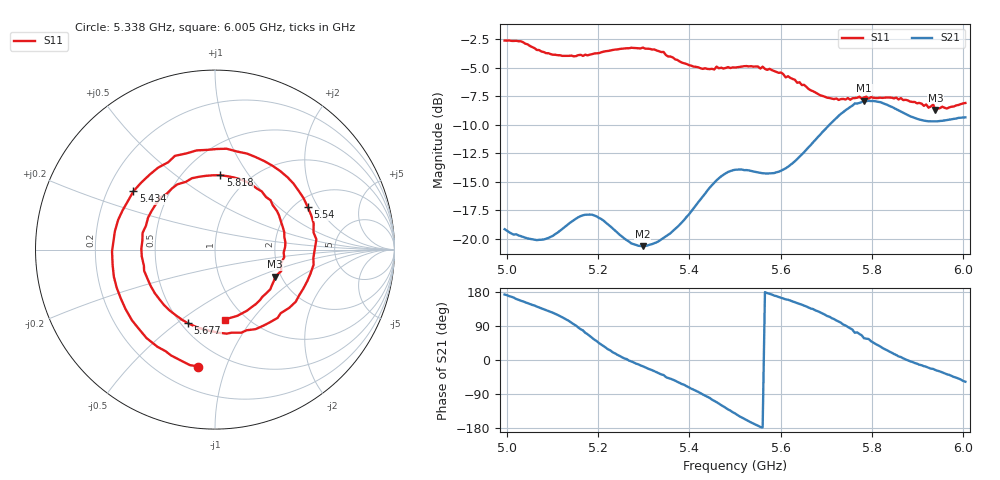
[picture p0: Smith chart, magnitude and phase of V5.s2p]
!File created by NanoVNA
# Hz S RI R 50
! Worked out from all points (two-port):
!   201 points, 4.995 GHz to 6.005 GHz, reference 50 ohm
!   highest |S21| = -7.88 dB at 5.783 GHz (marker M1); lowest = -20.6 dB at 5.298 GHz (marker M2)
!   |S21| within 3 dB of the highest: 5.686 GHz to end of sweep
!   lowest |S11| = -8.7 dB at 5.939 GHz (marker M3), VSWR 2.16, Z = 93 - j32.5 ohm
!   |S11| at or under -10 dB: nowhere
!   S12 and S22 are empty: the file has one direction only
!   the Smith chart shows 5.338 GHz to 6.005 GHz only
!   S11 on the Smith chart (normalised r, x): 5.338 GHz: 0.35, -0.80; 5.434 GHz: 0.31, +0.29; 5.54 GHz: 2.33, +1.64; 5.677 GHz: 0.54, -0.55; 5.818 GHz: 0.74, +0.75; 6.005 GHz: 0.81, -0.75
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4.995e9  0.2372 -0.6999  -0.1095 0.0138  0 0  0 0
5.03035e9  -0.2758 -0.6797  -0.0945 0.0411  0 0  0 0
5.08085e9  -0.656 -0.0529  -0.0696 0.0713  0 0  0 0
5.1263e9  -0.3862 0.5019  -0.0375 0.1063  0 0  0 0
5.1667e9  0.0984 0.6253  0.0263 0.1244  0 0  0 0
5.2374e9  0.6686 0.0912  0.104 0.0323  0 0  0 0
5.298e9  0.4253 -0.5413  0.0892 -0.0265  0 0  0 0
5.33335e9  -0.019 -0.6632  0.08 -0.0566  0 0  0 0
5.3384e9  -0.0929 -0.6515  0.0784 -0.0614  0 0  0 0
5.3889e9  -0.5477 -0.2123  0.0502 -0.1107  0 0  0 0
5.43435e9  -0.4547 0.3249  -0.0111 -0.1575  0 0  0 0
5.5e9  0.2249 0.5161  -0.156 -0.1266  0 0  0 0
5.5404e9  0.5161 0.2377  -0.1931 -0.042  0 0  0 0
5.6212e9  0.3039 -0.4063  -0.1938 0.0831  0 0  0 0
5.6717e9  -0.1072 -0.4299  -0.1852 0.1908  0 0  0 0
5.67675e9  -0.1516 -0.4099  -0.1773 0.2067  0 0  0 0
5.7323e9  -0.4079 -0.0388  -0.0506 0.3497  0 0  0 0
5.7828e9  -0.2393 0.3409  0.2178 0.3398  0 0  0 0
5.81815e9  0.0301 0.4144  0.322 0.233  0 0  0 0
5.83835e9  0.1698 0.3801  0.3539 0.1448  0 0  0 0
5.93935e9  0.3349 -0.1514  0.293 -0.146  0 0  0 0
6.005e9  0.0558 -0.39  0.1842 -0.2867  0 0  0 0
